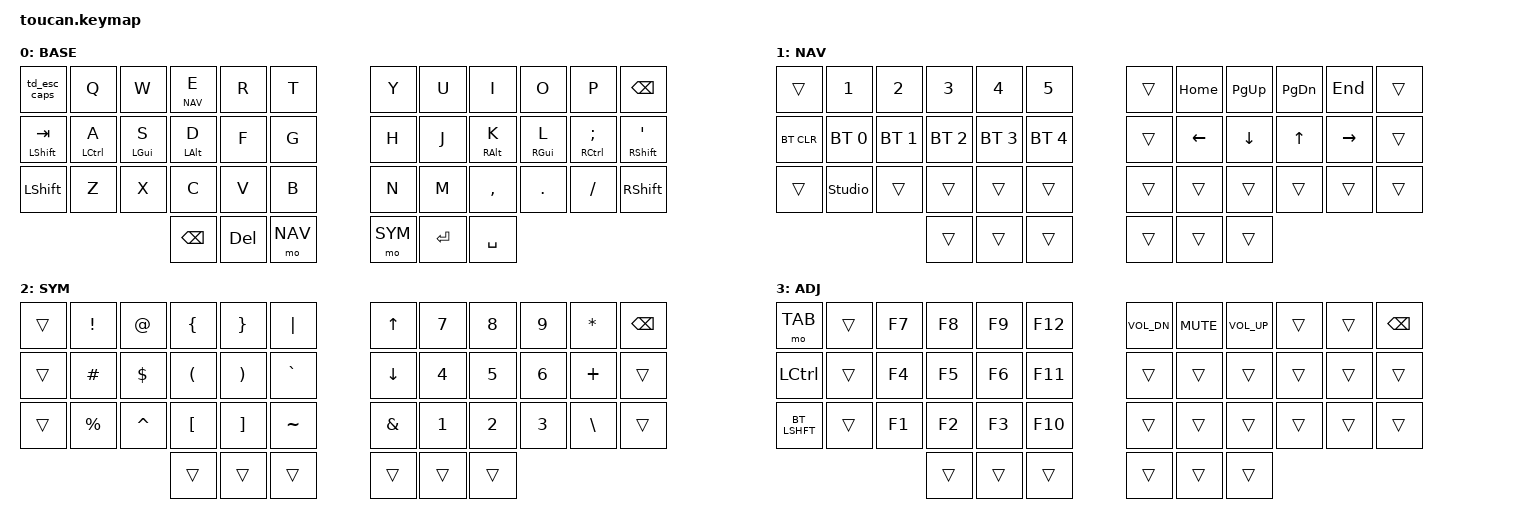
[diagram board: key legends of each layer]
#include <behaviors.dtsi>
#include <dt-bindings/zmk/keys.h>
#include <dt-bindings/zmk/bt.h>
#include <dt-bindings/zmk/outputs.h>

#define BASE 0
#define NAV  1
#define SYM  2
#define ADJ  3

/ {
    behaviors {
        td_esc_caps: tap_dance_esc_caps {
            compatible = "zmk,behavior-tap-dance";
            #binding-cells = <0>;
            tapping-term-ms = <200>;
            bindings = <&kp ESC>, <&kp CAPS>;
        };
    };

    conditional_layers {
        compatible = "zmk,conditional-layers";
        tri_layer {
            if-layers = <1 2>;
            then-layer = <3>;
        };
    };

    keymap {
        compatible = "zmk,keymap";

        base {
            display-name = "BASE";
            bindings = <
                &td_esc_caps    &kp Q         &kp W         &lt NAV E     &kp R         &kp T         &kp Y         &kp U         &kp I         &kp O         &kp P          &kp BSPC
                &mt LSHFT TAB   &mt LCTRL A   &mt LGUI S    &mt LALT D    &kp F         &kp G         &kp H         &kp J         &mt RALT K    &mt RGUI L    &mt RCTRL SEMI &mt RSHFT SQT
                &kp LSHFT       &kp Z         &kp X         &kp C         &kp V         &kp B         &kp N         &kp M         &kp COMMA     &kp DOT       &kp FSLH       &kp RSHFT
                                                            &kp BSPC      &kp DEL       &mo NAV       &mo SYM       &kp RET       &kp SPACE
            >;
        };

        nav {
            display-name = "NAV";
            bindings = <
                &trans      &kp N1          &kp N2       &kp N3       &kp N4       &kp N5         &trans   &kp HOME &kp PG_UP &kp PG_DN &kp END   &trans
                &bt BT_CLR  &bt BT_SEL 0    &bt BT_SEL 1 &bt BT_SEL 2 &bt BT_SEL 3 &bt BT_SEL 4   &trans   &kp LEFT &kp DOWN  &kp UP    &kp RIGHT &trans
                &trans      &studio_unlock  &trans       &trans       &trans       &trans         &trans   &trans   &trans    &trans    &trans    &trans
                                                            &trans        &trans       &trans         &trans   &trans    &trans
            >;
        };

        sym {
            display-name = "SYM";
            bindings = <
                &trans   &kp EXCL &kp AT   &kp LBRC &kp RBRC &kp PIPE    &kp UP   &kp N7 &kp N8 &kp N9 &kp STAR &kp BSPC
                &trans   &kp HASH &kp DLLR &kp LPAR &kp RPAR &kp GRAVE   &kp DOWN &kp N4 &kp N5 &kp N6 &kp PLUS &trans
                &trans   &kp PRCNT &kp CARET &kp LBKT &kp RBKT &kp TILDE   &kp AMPS &kp N1 &kp N2 &kp N3 &kp BSLH &trans
                                           &trans   &trans   &trans      &trans   &trans &trans
            >;
        };

        adj {
            display-name = "ADJ";
            bindings = <
                &mo TAB   &trans &kp F7 &kp F8 &kp F9 &kp F12   &kp C_VOL_DN &kp C_MUTE  &kp C_VOL_UP &trans &trans &kp BSPC
                &kp LCTRL &trans &kp F4 &kp F5 &kp F6 &kp F11   &trans       &trans      &trans       &trans &trans &trans
                &bt LSHFT &trans &kp F1 &kp F2 &kp F3 &kp F10   &trans       &trans      &trans       &trans &trans &trans
                                   &trans &trans &trans         &trans &trans &trans
            >;
        };
        extra_1 {
                status = "reserved";
        };

        extra_2 {
                status = "reserved";
        };

        extra_3 {
                status = "reserved";
        };
    };
};
